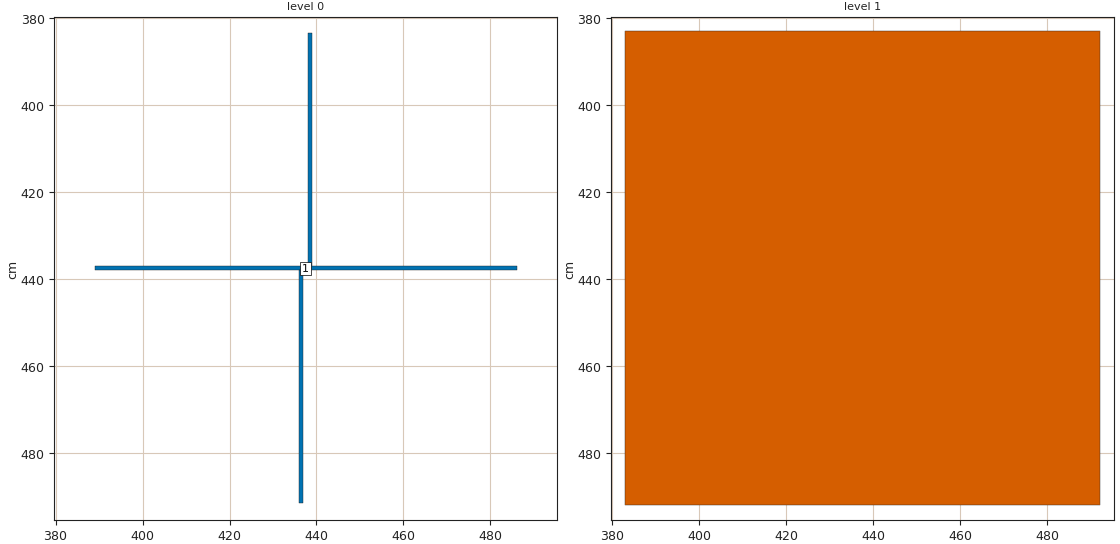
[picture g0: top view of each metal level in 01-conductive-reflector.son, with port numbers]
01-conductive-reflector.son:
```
FTYP SONPROJ 16 ! Sonnet Project File
VER 16.54
HEADER
LIC uibk50.1.47637 00059a3c7a00 DESKTOP-N3CL5MP domim
DAT 03/13/2020 18:11:32
BUILT_BY_CREATED xgeom 16.56 02/23/2020 12:15:21
BUILT_BY_SAVED xgeom 16.56
MDATE 03/13/2020 17:43:02
HDATE 03/13/2020 17:43:02
END HEADER
DIM
FREQ MHZ
IND NH
LNG CM
ANG DEG
CON /OH
CAP NF
RES OH
END DIM
FREQ
SIMPLE 100.0 180.0
ABS 137.0 137.0 
END FREQ
CONTROL
ABS
OPTIONS  -dj 
SPEED 0
CACHE_ABS 1
TARG_ABS 300
Q_ACC N
END CONTROL
GEO
TMET "Free Space" 0 FREESPACE 376.7303136 0 0 0
BMET "Free Space" 0 FREESPACE 376.7303136 0 0 0
MET "Copper" 1 NOR 58000000 0 1 
BOX 2 875 875 3500 3500 20 0
      150 1 1 0 0 0 0 "Unnamed"
      54.71 1 1 0 0 0 0 "Unnamed"
      150 1 1 0 0 0 0 "Unnamed"
VALVAR LA LNG 97 "Dim. Param. LA"
VALVAR lh2 LNG 53.5 "Dim. Param. lh2"
LORGN 0 875 U 
POR1 STD
POLY 10 1
2
1 50 0 0 0 437.5 437.5 
NUM 5
0 5 0 N 10 1 1 100 100 0 0 0 Y
486 438
486 437
437.5 437
437.5 438
486 438
END
0 5 0 N 12 1 1 100 100 0 0 0 Y
437.5 438
437.5 437
389 437
389 438
437.5 438
END
0 5 0 N 13 1 1 100 100 0 0 0 Y
438 437
439 437
439 383.5
438 383.5
438 437
END
0 5 0 N 14 1 1 100 100 0 0 0 Y
436 491.5
437 491.5
437 438
436 438
436 491.5
END
1 5 0 N 16 1 1 100 100 0 0 0 Y
383 383
492 383
492 492
383 492
383 383
END
END GEO
OPT
MAX 100
VARS
VAR LA Y 80.0 125.0 1.0
VAR lh2 Y 40.0 60.0 1.0
END
STEP 137.0
NET=GEO DB[S11] < VALUE=-35.0 1.0
END OPT
VARSWP
ABS_ENTRY 100.0 174.0 
VAR LA Y 94.0 180.0 4.0
VAR lh2 N 54.5 54.5 UNDEF
END
END VARSWP
QSG
IMPORT NO
EXTRA_METAL NO
UNITS YES
ALIGN NO
REF NO
VIEW_RES YES
METALS NO
USED YES
END QSG
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```
